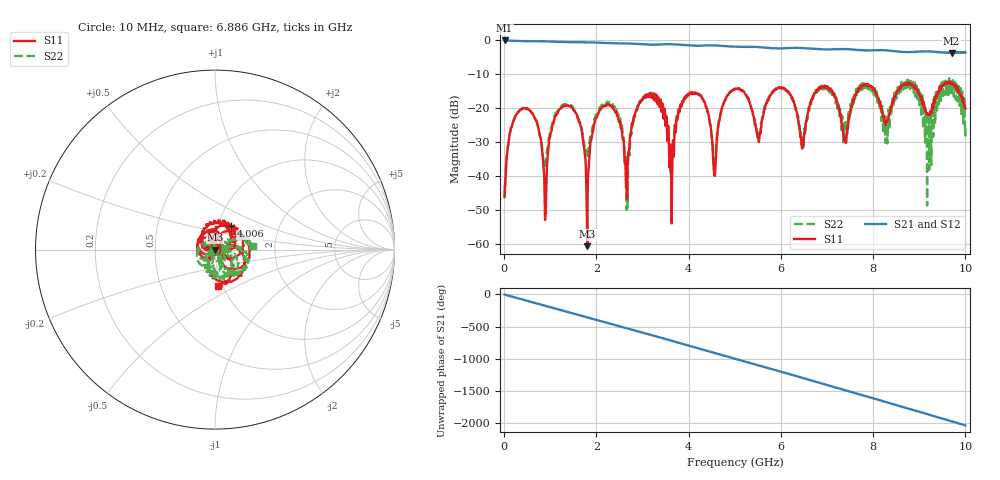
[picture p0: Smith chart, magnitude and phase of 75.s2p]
!Keysight Technologies,E5080B,MY59205177,A.15.75.32
!Date: Friday, February 23, 2024 03:33:01
!Correction: S11(Cdelta 2-Port  )
!S21(Cdelta 2-Port  )
!S12(Cdelta 2-Port  )
!S22(Cdelta 2-Port  )
!S2P File: Measurements: S11, S21, S12, S22:
# Hz S  dB  R 50
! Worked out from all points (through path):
!   10001 points, 10 MHz to 10 GHz, reference 50 ohm
!   highest |S21| = -0.01 dB at 10 MHz (marker M1); lowest = -3.7 dB at 9.701 GHz (marker M2)
!   group delay of S21, straight-line fit = 565 ps
!   lowest |S11| = -60.5 dB at 1.801 GHz (marker M3), VSWR 1.00, Z = 50 - j0.094 ohm
!   |S11| at or under -10 dB: start of sweep to end of sweep
!   |S22| runs from -49.8 to -11.2 dB; largest |S21 - S12| = 0.0016
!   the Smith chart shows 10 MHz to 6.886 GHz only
!   S11 on the Smith chart (normalised r, x): 10 MHz: 1.01, -0.00; 4.006 GHz: 1.15, +0.31; 6.886 GHz: 0.95, -0.40
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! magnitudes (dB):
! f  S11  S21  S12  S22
! 10 MHz  -46.0  0.0  0.0  -45.9
! 372.6 MHz  -20.2  -0.2  -0.2  -20.1
! 888.1 MHz  -52.0  -0.3  -0.3  -36.6
! 1.179 GHz  -20.7  -0.4  -0.4  -20.2
! 1.675 GHz  -26.1  -0.5  -0.5  -25.5
! 1.801 GHz  -60.5  -0.5  -0.5  -33.0
! 2.109 GHz  -19.9  -0.7  -0.7  -19.0
! 2.662 GHz  -46.2  -0.9  -0.9  -43.8
! 2.906 GHz  -19.3  -1.1  -1.1  -18.8
! 3.341 GHz  -17.5  -1.2  -1.2  -17.7
! 3.627 GHz  -47.0  -1.1  -1.1  -42.2
! 4.006 GHz  -16.1  -1.4  -1.4  -15.8
! 4.561 GHz  -39.6  -1.5  -1.5  -38.5
! 5.005 GHz  -14.2  -1.9  -1.8  -14.5
! 5.517 GHz  -29.5  -1.9  -1.9  -28.5
! 6.67 GHz  -17.3  -2.4  -2.4  -16.9
! 6.886 GHz  -13.8  -2.6  -2.6  -13.6
! 7.385 GHz  -29.7  -2.6  -2.6  -26.1
! 7.796 GHz  -13.1  -2.9  -2.9  -12.9
! 8.336 GHz  -22.7  -3.0  -3.0  -20.9
! 9.701 GHz  -12.2  -3.7  -3.7  -13.8
! 10 GHz  -20.1  -3.6  -3.6  -25.6
